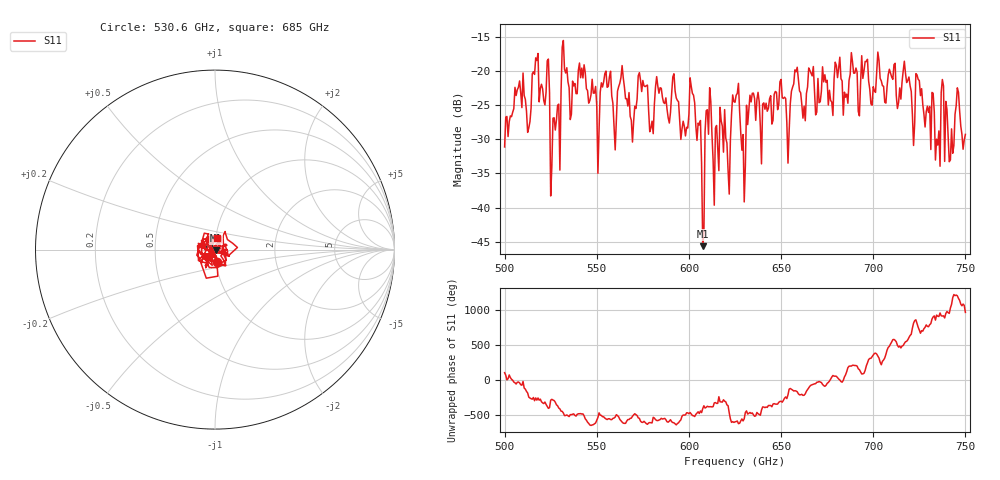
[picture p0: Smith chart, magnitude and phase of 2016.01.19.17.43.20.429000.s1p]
!Created with skrf (http://scikit-rf.org).
# GHz S RI R 50.0
!freq ReS11 ImS11
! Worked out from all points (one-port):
!   401 points, 500 GHz to 750 GHz, reference 50 ohm
!   lowest |S11| = -45.6 dB at 607.5 GHz (marker M1), VSWR 1.01, Z = 50.4 - j0.366 ohm
!   |S11| at or under -10 dB: start of sweep to end of sweep
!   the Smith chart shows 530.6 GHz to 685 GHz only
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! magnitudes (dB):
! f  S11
! 500 GHz  -31.1
! 506.9 GHz  -22.8
! 513.1 GHz  -28.3
! 516.9 GHz  -18.1
! 523.1 GHz  -18.5
! 526.2 GHz  -26.9
! 531.2 GHz  -16.5
! 550 GHz  -25.1
! 556.2 GHz  -22.3
! 559.4 GHz  -28.1
! 562.5 GHz  -21.8
! 569.4 GHz  -30.4
! 573.8 GHz  -21.4
! 579.4 GHz  -28.4
! 593.8 GHz  -24.3
! 601.9 GHz  -23.3
! 607.5 GHz  -45.6
! 610.6 GHz  -29.3
! 621.2 GHz  -34.6
! 625 GHz  -24.6
! 629.4 GHz  -29.3
! 634.4 GHz  -23.3
! 656.2 GHz  -22.4
! 687.5 GHz  -20.5
! 718.8 GHz  -21.4
! 735 GHz  -30.9
! 738.1 GHz  -22.2
! 750 GHz  -29.3
